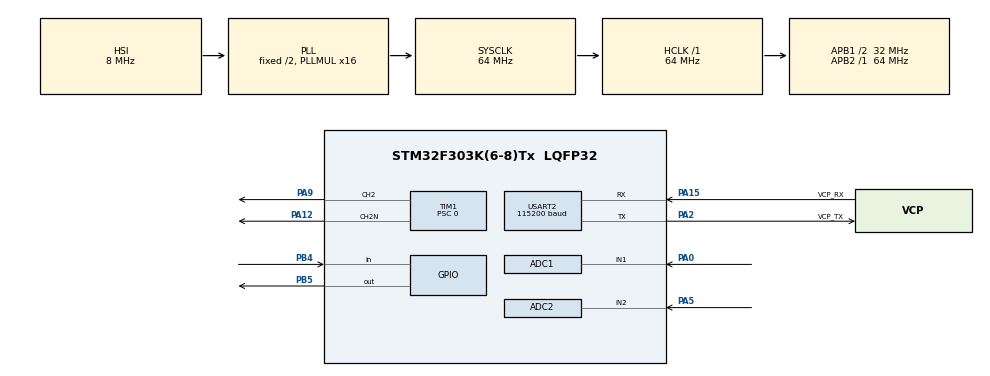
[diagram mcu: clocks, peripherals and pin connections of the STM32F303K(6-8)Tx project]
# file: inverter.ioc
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ADC1.Channel-2\#ChannelRegularConversion=ADC_CHANNEL_1
ADC1.NbrOfConversionFlag=1
ADC1.Offset-2\#ChannelRegularConversion=0
ADC1.OffsetNumber-2\#ChannelRegularConversion=ADC_OFFSET_NONE
ADC1.Rank-2\#ChannelRegularConversion=1
ADC1.SamplingTime-2\#ChannelRegularConversion=ADC_SAMPLETIME_1CYCLE_5
ADC1.SamplingTimeOPAMP-2\#ChannelRegularConversion=ADC_SAMPLETIME_61CYCLES_5
ADC1.SubFamily=STM32F303x8
ADC1.master=1
ADC2.Channel-2\#ChannelRegularConversion=ADC_CHANNEL_2
ADC2.NbrOfConversionFlag=1
ADC2.Offset-2\#ChannelRegularConversion=0
ADC2.OffsetNumber-2\#ChannelRegularConversion=ADC_OFFSET_NONE
ADC2.Rank-2\#ChannelRegularConversion=1
ADC2.SamplingTime-2\#ChannelRegularConversion=ADC_SAMPLETIME_1CYCLE_5
ADC2.SamplingTimeOPAMP-2\#ChannelRegularConversion=ADC_SAMPLETIME_61CYCLES_5
ADC2.SubFamily=STM32F303x8
Mcu.Family=STM32F3
Mcu.Name=STM32F303K(6-8)Tx
Mcu.Package=LQFP32
NVIC.PriorityGroup=NVIC_PRIORITYGROUP_4
NVIC.USART2_IRQn=true\:0\:0\:false\:false\:true\:true\:true\:true
PA0.Mode=IN1-Single-Ended
PA0.Signal=ADC1_IN1
PA12.Mode=PWM Generation2 CH2 CH2N
PA12.Signal=TIM1_CH2N
PA13.Mode=Serial_Wire
PA13.Signal=SYS_JTMS-SWDIO
PA14.Mode=Serial_Wire
PA14.Signal=SYS_JTCK-SWCLK
PA15.GPIO_Label=VCP_RX
PA15.Mode=Asynchronous
PA15.Signal=USART2_RX
PA2.GPIO_Label=VCP_TX
PA2.Mode=Asynchronous
PA2.Signal=USART2_TX
PA5.Mode=IN2-Single-Ended
PA5.Signal=ADC2_IN2
PA9.Signal=S_TIM1_CH2
PB4.Signal=GPIO_Input
PB5.Signal=GPIO_Output
PF0\ /\ OSC_IN.Mode=HSE-External-Clock-Source
PF0\ /\ OSC_IN.Signal=RCC_OSC_IN
ProjectManager.HeapSize=0x200
ProjectManager.StackSize=0x400
ProjectManager.TargetToolchain=STM32CubeIDE
RCC.AHBFreq_Value=64000000
RCC.APB1CLKDivider=RCC_HCLK_DIV2
RCC.APB1Freq_Value=32000000
RCC.APB1TimFreq_Value=64000000
RCC.APB2Freq_Value=64000000
RCC.APB2TimFreq_Value=64000000
RCC.CortexFreq_Value=64000000
RCC.HCLKFreq_Value=64000000
RCC.HSE_VALUE=8000000
RCC.HSI_VALUE=8000000
RCC.PLLMUL=RCC_PLL_MUL16
RCC.SYSCLKFreq_VALUE=64000000
RCC.SYSCLKSourceVirtual=RCC_SYSCLKSOURCE_PLLCLK
SH.S_TIM1_CH2.0=TIM1_CH2,PWM Generation2 CH2 CH2N
TIM1.Channel-PWM\ Generation2\ CH2\ CH2N=TIM_CHANNEL_2
TIM1.DeadTime=15
TIM1.Period=1199
TIM1.Prescaler=0
TIM1.Pulse-PWM\ Generation2\ CH2\ CH2N=600
USART2.BaudRate=115200
USART2.VirtualMode-Asynchronous=VM_ASYNC
VP_TIM1_VS_ClockSourceINT.Mode=Internal
board=custom

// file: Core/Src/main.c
/* USER CODE BEGIN Header */
/**
  ******************************************************************************
  * @file           : main.c
  * @brief          : Main program body
  ******************************************************************************
  * @attention
  *
  * Copyright (c) 2025 STMicroelectronics.
  * All rights reserved.
  *
  * This software is licensed under terms that can be found in the LICENSE file
  * in the root directory of this software component.
  * If no LICENSE file comes with this software, it is provided AS-IS.
  *
  ******************************************************************************
  */
/*

Code by Michail Andreas Michalopoulos  m.a.michalopoulos@student.tue.nl
* @attention
  * This code is for educational purposes only and is not intended for production use.
  * It is provided "as is" without any warranties or guarantees.
  * Use at your own risk.
  *
  * This code is part of a project to control a buck converter using an stm32 series microcontroller.
  * It includes functionalities for PWM generation, ADC readings, and UART communication.
  *
  *
  *
  *

*/

/* USER CODE END Header */
#include "main.h"
#include "gpio.h"
#include "tim.h"
#include "adc.h"
#include "usart.h"
#include <string.h>
#include <stdio.h>

/* USER CODE BEGIN PD */
#define LEM_SAMPLES  50  // number of samples for moving average

/* USER CODE END PD */

/* USER CODE BEGIN PV */
uint32_t pwm_freq_hz = 50000; // 85 kHz
uint32_t duty_cycle_percent = 40; // Default 50%
uint32_t voltage_raw = 0;
uint32_t current_raw = 0;
uint32_t Deadtimevar = 2;
float voltage_adc = 0.0f;
float voltage_input = 0.0f;
float current_adc = 0.0f;
float current_value = 0.0f;
uint8_t buffer1[] = "works";
#define INPUT_PIN   GPIO_PIN_4
#define INPUT_PORT  GPIOB

#define OUTPUT_PIN  GPIO_PIN_5
#define OUTPUT_PORT GPIOB
float duty_cycle = 35.0f;     // Start from 0
float prev_voltage = 0.0f;   // Previous loop voltage
float step = 0.45f;

/* USER CODE END PV */

void SystemClock_Config(void);
/* USER CODE BEGIN PFP */
void Configure_PWM(uint32_t freq_hz, uint32_t duty_percent);
void Play_melody(void);
void Play_Rickroll(void);
void MaxVoltage_Update(float pv_voltage);

/* USER CODE END PFP */

int main(void)
{

  /* MCU Configuration--------------------------------------------------------*/

  /* Reset of all peripherals, Initializes the Flash interface and the Systick. */
  HAL_Init();

  /* Configure the system clock */
  SystemClock_Config();

  /* Initialize all configured peripherals */
  MX_GPIO_Init();
  MX_TIM1_Init();
  MX_ADC1_Init();
  MX_USART2_UART_Init();
  MX_ADC2_Init();
  /* USER CODE BEGIN 2 */
  Configure_PWM(pwm_freq_hz, duty_cycle_percent);
  HAL_TIM_PWM_Start(&htim1, TIM_CHANNEL_2);
  HAL_TIMEx_PWMN_Start(&htim1, TIM_CHANNEL_2); // for complementary PA12
  __HAL_TIM_MOE_ENABLE(&htim1); // Required for complementary outputs

  /* USER CODE END 2 */

  /* Infinite loop */
  /* USER CODE BEGIN WHILE */
//  uint32_t sum_current_adc = 0;
//  uint32_t avg_current_adc = 0;
  int calint = 0;
  float calib = 0;
 // HAL_GPIO_WritePin(OUTPUT_PORT, OUTPUT_PIN, GPIO_PIN_SET);
  while (1)
  {

	  Play_Melody();
	 // Play_Rickroll();
	   HAL_Delay(10); // optional debounce

	  //Play_Melody();
	  uint32_t sum_current_adc = 0;
	  uint32_t avg_current_adc = 0;
	  uint32_t adc_raw;
	  float adc_voltage = 0.0f;
	  float input_voltage = 0.0f;
	  uint32_t adc_current;

	  HAL_ADC_Start(&hadc1);// adc1
	  HAL_ADC_PollForConversion(&hadc1, 10);
	  uint32_t val1 = HAL_ADC_GetValue(&hadc1);

	  HAL_ADC_Start(&hadc2);//adc2
	  HAL_ADC_PollForConversion(&hadc2, 10);
	  uint32_t val2 = HAL_ADC_GetValue(&hadc2);
	  adc_raw = val1;
	 // adc_current = val2;

	  HAL_ADC_Start(&hadc2);//adc2
	 	  HAL_ADC_PollForConversion(&hadc2, 10);
	 	 //
	 float diff1= HAL_ADC_GetValue(&hadc2);
	 HAL_ADC_Start(&hadc2);//adc2
		  HAL_ADC_PollForConversion(&hadc2, 10);

	 float diff2= HAL_ADC_GetValue(&hadc2);
	 HAL_ADC_Start(&hadc2);//adc2
		  HAL_ADC_PollForConversion(&hadc2, 10);

	 float diff3= HAL_ADC_GetValue(&hadc2);
	 HAL_ADC_Start(&hadc2);//adc2
		  HAL_ADC_PollForConversion(&hadc2, 10);

	 float diff4= HAL_ADC_GetValue(&hadc2);
	 HAL_ADC_Start(&hadc2);//adc2
		  HAL_ADC_PollForConversion(&hadc2, 10);

		  float diff5= HAL_ADC_GetValue(&hadc2);
		  HAL_ADC_Start(&hadc2);//adc2
		 	  HAL_ADC_PollForConversion(&hadc2, 10);

		  float diff6= HAL_ADC_GetValue(&hadc2);

	 float n1 = diff1 - diff2;
	 float n2 = diff3 - diff4;
	 float n3 = diff5 - diff6;
	 float ma_sum = 0.33*(n1*n1+n2*n2+n3*n3) * 300;

	  for (int i = 0; i < 6; i++) {
	       // assuming ADC2 = LEM
	      HAL_ADC_PollForConversion(&hadc2, 10);
	      sum_current_adc += val2;
	  }
	  avg_current_adc = sum_current_adc / LEM_SAMPLES;
	  float vadc = (val2 / 4095.0f) * 3.3f;
	  float zero = 0;           // LEM's zero-current point in volts
	  float sensitivity = 1;   // Example: 20 mV/A

	  float current = (ma_sum);

	  float input_current = 2* current;
	  char msg3[64];
	  snprintf(msg3, sizeof(msg3), "Current in avg: %lu | Current: %.2f A\r\n", avg_current_adc, current);
	  HAL_UART_Transmit(&huart2, (uint8_t*)msg3, strlen(msg3), HAL_MAX_DELAY);
//
	  adc_voltage = (val1 / 4095.0f) * 3.3f;
	  input_voltage = adc_voltage * ((100.0f + 6.8f) / 6.8f);  // Adjust resistors here
	  val1 = input_voltage + 1.5;

	  char msg[64];
	  if (calint>5){
	 // val2 = (val2-calib) / 1;
	  }
	  //val2 = calint;
	  snprintf(msg, sizeof(msg), "ADC1: %lu | ADC2: %lu ||", val1, val2);
	  HAL_UART_Transmit(&huart2, (uint8_t*)msg, strlen(msg), HAL_MAX_DELAY);
	  if (calint < 5){
		  calib = calib + val2;
	  }
	  if (calint ==5){
		  calib = calib/(calint + 1);
	  }
	  calint++;
//== ADC 1.8v 950 6.39     |A
//== ADC2.6 8.77 1300	 |A
//== ADC	 |A
//== ADC	 |A
//== ADC	 |A
//== ADC	 |A

    /* USER CODE END WHILE */

    /* USER CODE BEGIN 3 */
	  if (val1 >= 65)
	      {
	        // If PB4 is HIGH: stop PWM, set PB5 HIGH
	       // HAL_TIM_PWM_Stop(&htim1, TIM_CHANNEL_1);
		  	Configure_PWM(pwm_freq_hz, 0);
		  	char msg5 [64];
		  	snprintf(msg5, sizeof(msg5), "\nNo load!!\n");
		  	HAL_Delay(5);
	        HAL_GPIO_WritePin(OUTPUT_PORT, OUTPUT_PIN, GPIO_PIN_SET);

	        /*
	        while(1){

	        	HAL_Delay(500);

	        	Configure_PWM(pwm_freq_hz, duty_cycle_percent);
	        	HAL_GPIO_WritePin(OUTPUT_PORT, OUTPUT_PIN, GPIO_PIN_RESET);

	        	// take 3 readings
	        	HAL_ADC_Start(&hadc1);// adc1
	        		  HAL_ADC_PollForConversion(&hadc1, 10);
	        		  uint32_t val1 = HAL_ADC_GetValue(&hadc1);
	        		  adc_voltage = (val1 / 4095.0f) * 3.3f;
	        		  input_voltage = adc_voltage * ((100.0f + 6.8f) / 6.8f);  // Adjust resistors here
	        		  val1 = input_voltage + 1.5;

	        	// if load break
	        	if(val1<28){

	    		  	snprintf(msg5, sizeof(msg5), "\nLoad detected again!!\n");
	    		  	break;
	        	}
*/

	        	HAL_Delay(3000);

	        }

	        Configure_PWM(pwm_freq_hz, duty_cycle_percent);
	        HAL_Delay(5);
	       	HAL_GPIO_WritePin(OUTPUT_PORT, OUTPUT_PIN, GPIO_PIN_RESET);

	      }

  /* USER CODE END 3 */
}

void SystemClock_Config(void)
{
  RCC_OscInitTypeDef RCC_OscInitStruct = {0};
  RCC_ClkInitTypeDef RCC_ClkInitStruct = {0};
  RCC_PeriphCLKInitTypeDef PeriphClkInit = {0};

  /** Initializes the RCC Oscillators according to the specified parameters
  * in the RCC_OscInitTypeDef structure.
  */
  RCC_OscInitStruct.OscillatorType = RCC_OSCILLATORTYPE_HSI;
  RCC_OscInitStruct.HSIState = RCC_HSI_ON;
  RCC_OscInitStruct.HSICalibrationValue = RCC_HSICALIBRATION_DEFAULT;
  RCC_OscInitStruct.PLL.PLLState = RCC_PLL_ON;
  RCC_OscInitStruct.PLL.PLLSource = RCC_PLLSOURCE_HSI;
  RCC_OscInitStruct.PLL.PLLMUL = RCC_PLL_MUL16;
  if (HAL_RCC_OscConfig(&RCC_OscInitStruct) != HAL_OK)
  {
    Error_Handler();
  }

  /** Initializes the CPU, AHB and APB buses clocks
  */
  RCC_ClkInitStruct.ClockType = RCC_CLOCKTYPE_HCLK|RCC_CLOCKTYPE_SYSCLK
                              |RCC_CLOCKTYPE_PCLK1|RCC_CLOCKTYPE_PCLK2;
  RCC_ClkInitStruct.SYSCLKSource = RCC_SYSCLKSOURCE_PLLCLK;
  RCC_ClkInitStruct.AHBCLKDivider = RCC_SYSCLK_DIV1;
  RCC_ClkInitStruct.APB1CLKDivider = RCC_HCLK_DIV2;
  RCC_ClkInitStruct.APB2CLKDivider = RCC_HCLK_DIV1;

  if (HAL_RCC_ClockConfig(&RCC_ClkInitStruct, FLASH_LATENCY_2) != HAL_OK)
  {
    Error_Handler();
  }
  PeriphClkInit.PeriphClockSelection = RCC_PERIPHCLK_TIM1|RCC_PERIPHCLK_ADC12;
  PeriphClkInit.Adc12ClockSelection = RCC_ADC12PLLCLK_DIV1;
  PeriphClkInit.Tim1ClockSelection = RCC_TIM1CLK_HCLK;
  if (HAL_RCCEx_PeriphCLKConfig(&PeriphClkInit) != HAL_OK)
  {
    Error_Handler();
  }
}

/* USER CODE BEGIN 4 */
void Configure_PWM(uint32_t freq_hz, uint32_t duty_percent)
{
  uint32_t timer_clk = HAL_RCC_GetPCLK2Freq(); // TIM1 on APB2
  uint32_t prescaler = 0;
  uint32_t period = (timer_clk / freq_hz) - 1;
  uint32_t pulse = (period + 1) * duty_percent / 100;

  htim1.Init.Prescaler = prescaler;
  htim1.Init.Period = period;
  htim1.Init.CounterMode = TIM_COUNTERMODE_UP;
  htim1.Init.ClockDivision = TIM_CLOCKDIVISION_DIV1;
  htim1.Init.RepetitionCounter = 0;
  HAL_TIM_PWM_Init(&htim1);

  TIM_OC_InitTypeDef sConfigOC = {0};
  sConfigOC.OCMode = TIM_OCMODE_PWM1;
  sConfigOC.Pulse = pulse;
  sConfigOC.OCPolarity = TIM_OCPOLARITY_HIGH;
  sConfigOC.OCNPolarity = TIM_OCNPOLARITY_HIGH;
  sConfigOC.OCFastMode = TIM_OCFAST_DISABLE;
  sConfigOC.OCIdleState = TIM_OCIDLESTATE_RESET;
  sConfigOC.OCNIdleState = TIM_OCNIDLESTATE_RESET;
  HAL_TIM_PWM_ConfigChannel(&htim1, &sConfigOC, TIM_CHANNEL_2);

  TIM_BreakDeadTimeConfigTypeDef sBreakDeadTimeConfig = {0};
  sBreakDeadTimeConfig.OffStateRunMode = TIM_OSSR_DISABLE;
  sBreakDeadTimeConfig.OffStateIDLEMode = TIM_OSSI_DISABLE;
  sBreakDeadTimeConfig.LockLevel = TIM_LOCKLEVEL_OFF;
  sBreakDeadTimeConfig.DeadTime = Deadtimevar;
  sBreakDeadTimeConfig.BreakState = TIM_BREAK_DISABLE;
  sBreakDeadTimeConfig.BreakPolarity = TIM_BREAKPOLARITY_HIGH;
  sBreakDeadTimeConfig.AutomaticOutput = TIM_AUTOMATICOUTPUT_ENABLE;
  HAL_TIMEx_ConfigBreakDeadTime(&htim1, &sBreakDeadTimeConfig);

  HAL_TIM_PWM_Start(&htim1, TIM_CHANNEL_2);
  HAL_TIMEx_PWMN_Start(&htim1, TIM_CHANNEL_2); // Complementary
}

void Play_Melody(void)
{
  // Frequencies (Hz) for Star Wars intro (short version)
  uint32_t melody[] = {
    440, 440, 440, 349, 440, 523, 440, 349, 440, 523, 440, 0, // first bar
    659, 659, 659, 698, 659, 587, 523, 440, 349 // second bar (simplified)
  };

  // Durations in ms for each note (adjust for rhythm)
  uint16_t duration[] = {
    500, 500, 500, 350, 150, 500, 350, 150, 500, 350, 150, 500,
    500, 500, 500, 350, 150, 500, 350, 150, 500
  };

  uint8_t num_notes = sizeof(melody) / sizeof(melody[0]);

  for (uint8_t i = 0; i < num_notes; i++)
  {
    if (melody[i] == 0) {
      // Rest
      HAL_TIM_PWM_Stop(&htim1, TIM_CHANNEL_2);
      HAL_TIMEx_PWMN_Stop(&htim1, TIM_CHANNEL_2);
      HAL_Delay(duration[i]);
    } else {
      uint32_t timer_clk = HAL_RCC_GetPCLK2Freq();
      uint32_t period = (timer_clk / melody[i]) - 1;
      uint32_t pulse = (period + 1) * 50 / 100; // 50% duty

      htim1.Init.Period = period;
      htim1.Init.Prescaler = 0;
      HAL_TIM_PWM_Init(&htim1);

      TIM_OC_InitTypeDef sConfigOC = {0};
      sConfigOC.OCMode = TIM_OCMODE_PWM1;
      sConfigOC.Pulse = pulse;
      sConfigOC.OCPolarity = TIM_OCPOLARITY_HIGH;
      sConfigOC.OCNPolarity = TIM_OCNPOLARITY_HIGH;
      sConfigOC.OCFastMode = TIM_OCFAST_DISABLE;
      sConfigOC.OCIdleState = TIM_OCIDLESTATE_RESET;
      sConfigOC.OCNIdleState = TIM_OCNIDLESTATE_RESET;
      HAL_TIM_PWM_ConfigChannel(&htim1, &sConfigOC, TIM_CHANNEL_2);

      HAL_TIM_PWM_Start(&htim1, TIM_CHANNEL_2);
      HAL_TIMEx_PWMN_Start(&htim1, TIM_CHANNEL_2);
      __HAL_TIM_MOE_ENABLE(&htim1);

      HAL_Delay(duration[i]);
    }
  }

  // Stop at the end
  HAL_TIM_PWM_Stop(&htim1, TIM_CHANNEL_2);
  HAL_TIMEx_PWMN_Stop(&htim1, TIM_CHANNEL_2);
}

void Play_Rickroll(void)
{
  // Rick Astley "Never Gonna Give You Up" opening notes (approximate)
  // Frequencies in Hz, duration in ms
  uint32_t melody[]   = { 659, 659, 659, 523, 587, 659, 784, 784, 659, 523, 587, 659 }; // E E E C D E G G E C D E
  uint32_t duration[] = { 300, 300, 300, 300, 300, 600, 300, 300, 300, 300, 300, 600 };

  uint8_t num_notes = sizeof(melody) / sizeof(melody[0]);

  for (uint8_t i = 0; i < num_notes; i++)
  {
    // Calculate TIM1 parameters for this note
    uint32_t timer_clk = HAL_RCC_GetPCLK2Freq();
    uint32_t period = (timer_clk / melody[i]) - 1;
    uint32_t pulse = (period + 1) / 2; // 50% duty

    // Update PWM settings
    htim1.Init.Period = period;
    htim1.Init.Prescaler = 0;
    HAL_TIM_PWM_Init(&htim1);

    TIM_OC_InitTypeDef sConfigOC = {0};
    sConfigOC.OCMode = TIM_OCMODE_PWM1;
    sConfigOC.Pulse = pulse;
    sConfigOC.OCPolarity = TIM_OCPOLARITY_HIGH;
    sConfigOC.OCNPolarity = TIM_OCNPOLARITY_HIGH;
    sConfigOC.OCFastMode = TIM_OCFAST_DISABLE;
    sConfigOC.OCIdleState = TIM_OCIDLESTATE_RESET;
    sConfigOC.OCNIdleState = TIM_OCNIDLESTATE_RESET;
    HAL_TIM_PWM_ConfigChannel(&htim1, &sConfigOC, TIM_CHANNEL_2);

    HAL_TIM_PWM_Start(&htim1, TIM_CHANNEL_2);
    HAL_TIMEx_PWMN_Start(&htim1, TIM_CHANNEL_2);
    __HAL_TIM_MOE_ENABLE(&htim1);

    HAL_Delay(duration[i]); // play this note
    HAL_TIM_PWM_Stop(&htim1, TIM_CHANNEL_2); // small pause between notes
    HAL_TIMEx_PWMN_Stop(&htim1, TIM_CHANNEL_2);
    HAL_Delay(50);
  }
}

int dir = 1;
float best_volt = 0;
float best_DC = 20.0f;
int counter = 0;
int sweeped = 0;
void MaxVoltage_Update(float pv_voltage)
{
	counter++;
    // Basic perturb and observe to reach max voltage

	if(sweeped == 0){
		duty_cycle=20.0;

		for(; duty_cycle < 70; duty_cycle=duty_cycle+0.3 ){
		// Apply to PWM
			 HAL_ADC_Start(&hadc1);// adc1
				  HAL_ADC_PollForConversion(&hadc1, 10);
				  pv_voltage  = HAL_ADC_GetValue(&hadc1);

			Configure_PWM(pwm_freq_hz, (uint32_t)duty_cycle);
			HAL_Delay(30);
			//;take reading
			if(pv_voltage >= best_volt){
				best_volt = pv_voltage;
				best_DC = duty_cycle;
			}

		}
	sweeped=1;
	}else if(pv_voltage < best_volt - 3)//change occured in voltage
		sweeped = 0;

    // Print status
    char msg[64];
    snprintf(msg, sizeof(msg), "PV Volt: %.2f V | Duty: %.2f %%\r\n", pv_voltage, duty_cycle);
    HAL_UART_Transmit(&huart2, (uint8_t*)msg, strlen(msg), HAL_MAX_DELAY);

    // Update reference for next iteration

	Configure_PWM(pwm_freq_hz, (uint32_t)best_DC);
	HAL_Delay(30);

}

/* USER CODE END 4 */

void Error_Handler(void)
{
  __disable_irq();
  while (1)
  {
  }
}
